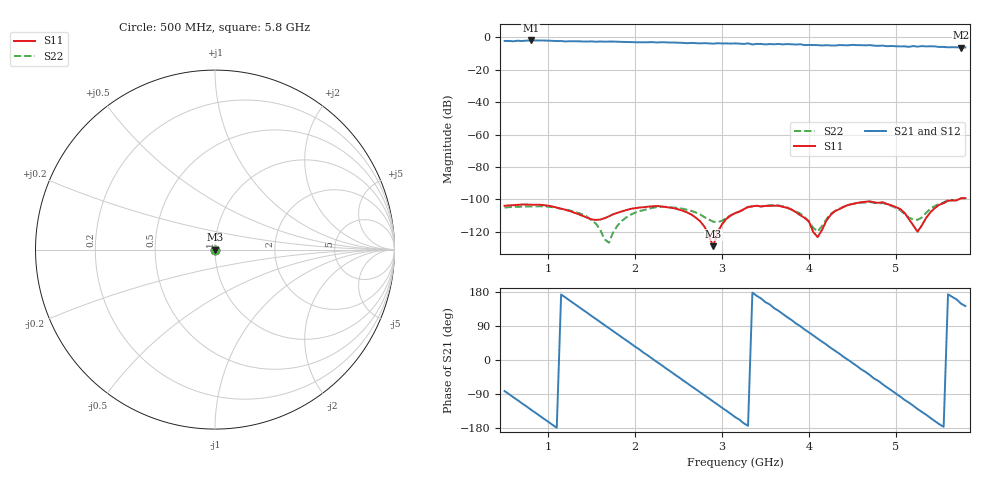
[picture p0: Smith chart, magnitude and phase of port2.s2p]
# GHZ S RI R 50
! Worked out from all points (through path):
!   107 points, 500 MHz to 5.8 GHz, reference 50 ohm
!   highest |S21| = -1.89 dB at 800 MHz (marker M1); lowest = -6.2 dB at 5.75 GHz (marker M2)
!   group delay of S21, straight-line fit = 448 ps
!   lowest |S11| = -129.0 dB at 2.9 GHz (marker M3), VSWR 1.00, Z = 50 - j9.72e-06 ohm
!   |S11| at or under -10 dB: start of sweep to end of sweep
!   |S22| runs from -126.9 to -99.3 dB; largest |S21 - S12| = 0.01
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0.5  5.3e-06 -3.4e-06  0.108 -0.7699  0.1083 -0.7694  5.43e-06 -1.17e-06
0.8  2.25e-07 -6.81e-06  -0.524 -0.6109  -0.5244 -0.6106  3.87e-06 -4.56e-06
1.1  -3.85e-06 -3.99e-06  -0.7714 -0.0159  -0.7709 -0.0163  8.45e-08 -5.41e-06
1.4  -2.86e-06 -1.1e-06  -0.5046 0.5516  -0.505 0.5526  -2.31e-06 -2.46e-06
1.6  -1.69e-06 -1.65e-06  -0.1322 0.7353  -0.134 0.735  -9.67e-07 -5.8e-07
1.75  -2.18e-06 -2.66e-06  0.1814 0.7223  0.1822 0.7232  7.57e-07 -6.26e-07
2  -4.51e-06 -2.8e-06  0.578 0.4108  0.5787 0.4108  1.71e-06 -3.43e-06
2.3  -5.94e-06 9.08e-07  0.6928 -0.1562  0.693 -0.1531  -2.12e-06 -5.39e-06
2.65  -1.69e-06 2.87e-06  0.2372 -0.6323  0.2412 -0.6312  -4.2e-06 -1.19e-06
2.9  -3.42e-07 -9.72e-08  -0.2163 -0.6041  -0.2151 -0.6048  -1.92e-06 -6.75e-07
3.15  -3.06e-06 -2.12e-06  -0.5672 -0.3208  -0.5669 -0.3252  -2.24e-06 -3e-06
3.4  -6.31e-06 4.07e-07  -0.6189 0.1166  -0.6221 0.1199  -5.7e-06 -2.62e-06
3.65  -4.09e-06 4.79e-06  -0.4033 0.482  -0.3993 0.4873  -6.04e-06 2.11e-06
3.9  -1.68e-07 3.2e-06  0.00596 0.6153  0.00789 0.6142  -2.07e-06 3e-06
4.05  -2.57e-07 9.39e-07  0.2474 0.527  0.2484 0.5263  -9.98e-07 8.56e-07
4.5  -6.55e-06 2.95e-06  0.5834 -0.0772  0.5859 -0.0802  -7.12e-06 -9.72e-08
4.75  -3.14e-06 7.39e-06  0.3643 -0.4196  0.3631 -0.4202  -6.11e-06 4.8e-06
4.95  1.6e-06 6.28e-06  0.0924 -0.5356  0.093 -0.5359  -2.65e-06 5.62e-06
5.2  1.56e-06 6.36e-10  -0.2751 -0.4662  -0.2776 -0.4635  -1.6e-06 1.76e-06
5.4  -3.92e-06 -8.99e-07  -0.4749 -0.2407  -0.4752 -0.2431  -5.06e-06 6.57e-07
5.75  -5.18e-06 9.42e-06  -0.4163 0.2535  -0.4219 0.2504  -5.87e-06 9.05e-06
5.8  -4.61e-06 9.86e-06  -0.3879 0.299  -0.3816 0.3038  -5.38e-06 9.33e-06
